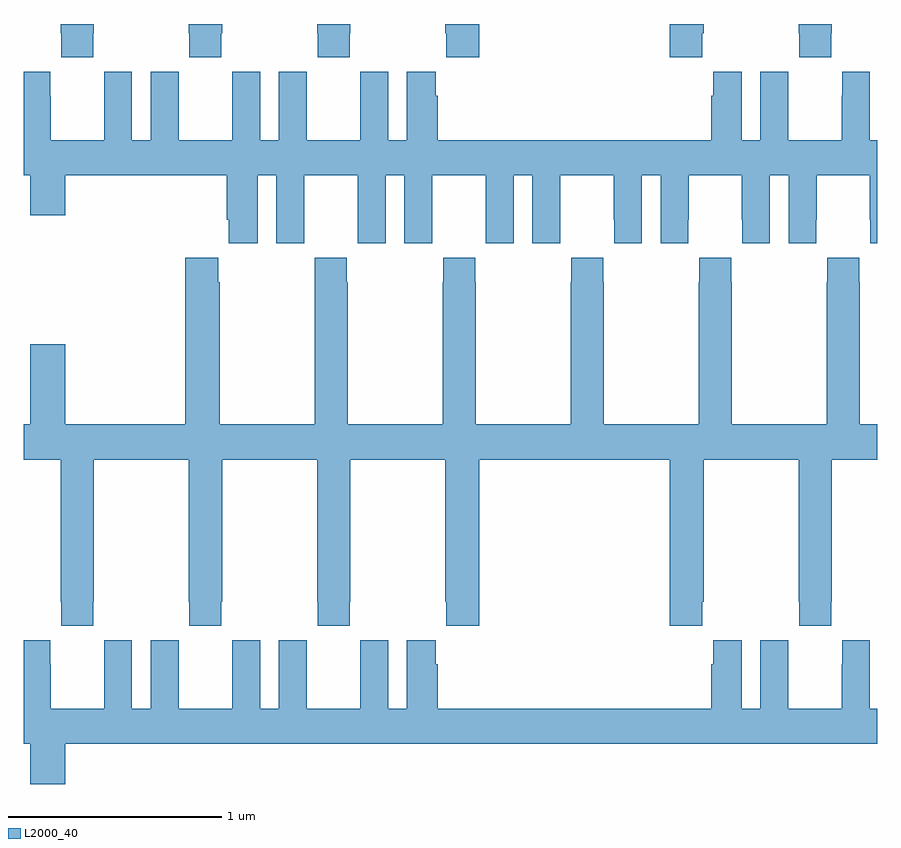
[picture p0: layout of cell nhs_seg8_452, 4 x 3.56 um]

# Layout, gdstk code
import gdstk
lib = gdstk.Library(unit=1e-6, precision=1e-09)
def P(c, l, *ps):  # polygons
    for p in ps: c.add(gdstk.Polygon(p, *l))
L2000_40 = (2000, 40)

nhs_seg8_452 = lib.new_cell('nhs_seg8_452')
P(nhs_seg8_452, L2000_40, [(141.927,1091.857),(141.93,1091.857),(141.93,1091.9),(141.775,1091.9),(141.775,1091.857),(141.777,1091.857),(141.777,1091.745),(141.927,1091.745)],
  [(141.327,1091.857),(141.33,1091.857),(141.33,1091.9),(141.175,1091.9),(141.175,1091.857),(141.177,1091.857),(141.177,1091.745),(141.327,1091.745)],
  [(144.783,1091.857),(144.786,1091.857),(144.786,1091.9),(144.631,1091.9),(144.631,1091.857),(144.633,1091.857),(144.633,1091.745),(144.783,1091.745)],
  [(144.179,1091.857),(144.186,1091.857),(144.186,1091.9),(144.026,1091.9),(144.026,1091.745),(144.179,1091.745)],
  [(142.527,1091.857),(142.53,1091.857),(142.53,1091.9),(142.375,1091.9),(142.375,1091.857),(142.377,1091.857),(142.377,1091.745),(142.527,1091.745)],
  [(143.135,1091.9),(142.975,1091.9),(142.975,1091.857),(142.981,1091.857),(142.981,1091.745),(143.135,1091.745)],
  [(142.94,1091.564),(142.93,1091.564),(142.93,1091.677),(142.796,1091.677),(142.796,1091.356),(142.708,1091.356),(142.708,1091.677),(142.578,1091.677),(142.578,1091.564),(142.577,1091.564),(142.577,1091.356),(142.327,1091.356),(142.327,1091.564),(142.326,1091.564),(142.326,1091.677),(142.196,1091.677),(142.196,1091.356),(142.108,1091.356),(142.108,1091.677),(141.978,1091.677),(141.978,1091.564),(141.977,1091.564),(141.977,1091.356),(141.727,1091.356),(141.727,1091.564),(141.726,1091.564),(141.726,1091.677),(141.596,1091.677),(141.596,1091.356),(141.508,1091.356),(141.508,1091.677),(141.378,1091.677),(141.378,1091.564),(141.377,1091.564),(141.377,1091.356),(141.127,1091.356),(141.127,1091.564),(141.126,1091.564),(141.126,1091.677),(141,1091.677),(141,1091.192),(141.032,1091.192),(141.032,1091.004),(141.196,1091.004),(141.196,1091.192),(141.953,1091.192),(141.953,1090.984),(141.962,1090.984),(141.962,1090.872),(142.096,1090.872),(142.096,1091.192),(142.184,1091.192),(142.184,1090.872),(142.314,1090.872),(142.314,1090.984),(142.315,1090.984),(142.315,1091.192),(142.565,1091.192),(142.565,1090.984),(142.566,1090.984),(142.566,1090.872),(142.696,1090.872),(142.696,1091.192),(142.784,1091.192),(142.784,1090.872),(142.914,1090.872),(142.914,1090.984),(142.915,1090.984),(142.915,1091.192),(143.165,1091.192),(143.165,1090.984),(143.166,1090.984),(143.166,1090.872),(143.296,1090.872),(143.296,1091.192),(143.384,1091.192),(143.384,1090.872),(143.514,1090.872),(143.514,1090.984),(143.515,1090.984),(143.515,1091.192),(143.765,1091.192),(143.765,1090.984),(143.766,1090.984),(143.766,1090.872),(143.896,1090.872),(143.896,1091.192),(143.984,1091.192),(143.984,1090.872),(144.114,1090.872),(144.114,1090.984),(144.115,1090.984),(144.115,1091.192),(144.365,1091.192),(144.365,1090.984),(144.366,1090.984),(144.366,1090.872),(144.496,1090.872),(144.496,1091.192),(144.584,1091.192),(144.584,1090.872),(144.714,1090.872),(144.714,1090.984),(144.715,1090.984),(144.715,1091.192),(144.965,1091.192),(144.965,1090.984),(144.966,1090.984),(144.966,1090.872),(145,1090.872),(145,1091.356),(144.964,1091.356),(144.964,1091.677),(144.834,1091.677),(144.834,1091.564),(144.833,1091.564),(144.833,1091.356),(144.583,1091.356),(144.583,1091.564),(144.582,1091.564),(144.582,1091.677),(144.452,1091.677),(144.452,1091.356),(144.364,1091.356),(144.364,1091.677),(144.23,1091.677),(144.23,1091.564),(144.221,1091.564),(144.221,1091.356),(142.94,1091.356)],
  [(143.565,1090.804),(143.565,1090.691),(143.563,1090.691),(143.563,1090.024),(143.118,1090.024),(143.118,1090.691),(143.115,1090.691),(143.115,1090.804),(142.965,1090.804),(142.965,1090.691),(142.963,1090.691),(142.963,1090.024),(142.518,1090.024),(142.518,1090.691),(142.515,1090.691),(142.515,1090.804),(142.365,1090.804),(142.365,1090.691),(142.363,1090.691),(142.363,1090.024),(141.918,1090.024),(141.918,1090.691),(141.911,1090.691),(141.911,1090.804),(141.758,1090.804),(141.758,1090.024),(141.196,1090.024),(141.196,1090.399),(141.032,1090.399),(141.032,1090.024),(141,1090.024),(141,1089.86),(141.175,1089.86),(141.175,1089.193),(141.177,1089.193),(141.177,1089.081),(141.327,1089.081),(141.327,1089.193),(141.33,1089.193),(141.33,1089.86),(141.775,1089.86),(141.775,1089.193),(141.777,1089.193),(141.777,1089.081),(141.927,1089.081),(141.927,1089.193),(141.93,1089.193),(141.93,1089.86),(142.375,1089.86),(142.375,1089.193),(142.377,1089.193),(142.377,1089.081),(142.527,1089.081),(142.527,1089.193),(142.53,1089.193),(142.53,1089.86),(142.975,1089.86),(142.975,1089.193),(142.981,1089.193),(142.981,1089.081),(143.135,1089.081),(143.135,1089.86),(144.026,1089.86),(144.026,1089.081),(144.179,1089.081),(144.179,1089.193),(144.186,1089.193),(144.186,1089.86),(144.631,1089.86),(144.631,1089.193),(144.633,1089.193),(144.633,1089.081),(144.783,1089.081),(144.783,1089.193),(144.786,1089.193),(144.786,1089.86),(145,1089.86),(145,1090.024),(144.918,1090.024),(144.918,1090.691),(144.915,1090.691),(144.915,1090.804),(144.765,1090.804),(144.765,1090.691),(144.763,1090.691),(144.763,1090.024),(144.318,1090.024),(144.318,1090.691),(144.315,1090.691),(144.315,1090.804),(144.165,1090.804),(144.165,1090.691),(144.163,1090.691),(144.163,1090.024),(143.718,1090.024),(143.718,1090.691),(143.715,1090.691),(143.715,1090.804)],
  [(141.127,1088.9),(141.126,1088.9),(141.126,1089.013),(141,1089.013),(141,1088.528),(141.032,1088.528),(141.032,1088.34),(141.196,1088.34),(141.196,1088.528),(145,1088.528),(145,1088.692),(144.964,1088.692),(144.964,1089.013),(144.834,1089.013),(144.834,1088.9),(144.833,1088.9),(144.833,1088.692),(144.583,1088.692),(144.583,1088.9),(144.582,1088.9),(144.582,1089.013),(144.452,1089.013),(144.452,1088.692),(144.364,1088.692),(144.364,1089.013),(144.23,1089.013),(144.23,1088.9),(144.221,1088.9),(144.221,1088.692),(142.94,1088.692),(142.94,1088.9),(142.93,1088.9),(142.93,1089.013),(142.796,1089.013),(142.796,1088.692),(142.708,1088.692),(142.708,1089.013),(142.578,1089.013),(142.578,1088.9),(142.577,1088.9),(142.577,1088.692),(142.327,1088.692),(142.327,1088.9),(142.326,1088.9),(142.326,1089.013),(142.196,1089.013),(142.196,1088.692),(142.108,1088.692),(142.108,1089.013),(141.978,1089.013),(141.978,1088.9),(141.977,1088.9),(141.977,1088.692),(141.727,1088.692),(141.727,1088.9),(141.726,1088.9),(141.726,1089.013),(141.596,1089.013),(141.596,1088.692),(141.508,1088.692),(141.508,1089.013),(141.378,1089.013),(141.378,1088.9),(141.377,1088.9),(141.377,1088.692),(141.127,1088.692)])

lib.write_gds('nhs_seg8_452.gds')
